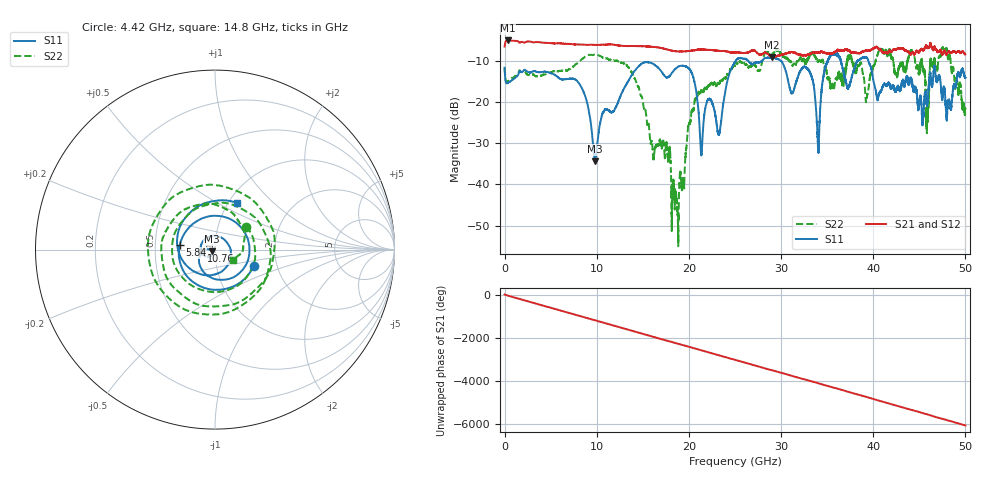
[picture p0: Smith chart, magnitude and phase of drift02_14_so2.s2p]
!Created with skrf (http://scikit-rf.org).
# Hz S RI R 50.0
!freq ReS11 ImS11 ReS21 ImS21 ReS12 ImS12 ReS22 ImS22
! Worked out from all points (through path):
!   10001 points, 300 kHz to 50 GHz, reference 50 ohm
!   highest |S21| = -5.03 dB at 325.3 MHz (marker M1); lowest = -9.0 dB at 29.05 GHz (marker M2)
!   group delay of S21, straight-line fit = 336 ps
!   lowest |S11| = -34.4 dB at 9.815 GHz (marker M3), VSWR 1.04, Z = 48.4 - j0.893 ohm
!   |S11| at or under -10 dB: start of sweep to 25.08 GHz; 29.97 GHz to 35.04 GHz (5.073 GHz wide, 15.6 % of centre); 39.47 GHz to end of sweep (the widest 3 of 11)
!   |S22| runs from -55.0 to -6.6 dB; largest |S21 - S12| = 0.022
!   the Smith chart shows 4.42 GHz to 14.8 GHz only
!   S11 on the Smith chart (normalised r, x): 4.42 GHz: 1.51, -0.30; 5.84 GHz: 0.67, +0.04; 10.76 GHz: 0.86, -0.01; 14.8 GHz: 1.10, +0.62
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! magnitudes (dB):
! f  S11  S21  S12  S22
! 300 kHz  -11.7  -6.5  -6.4  -11.7
! 325.3 MHz  -15.4  -5.0  -5.0  -15.1
! 4.42 GHz  -12.6  -5.6  -5.6  -13.3
! 5.84 GHz  -14.1  -5.7  -5.7  -12.5
! 8.335 GHz  -16.4  -6.1  -6.0  -9.6
! 9.815 GHz  -34.4  -6.1  -6.1  -8.5
! 10.76 GHz  -22.3  -6.0  -6.1  -9.2
! 14.8 GHz  -10.8  -6.4  -6.4  -18.5
! 16.67 GHz  -11.7  -6.7  -6.7  -30.4
! 18.69 GHz  -11.7  -7.7  -7.7  -44.7
! 20.37 GHz  -13.3  -7.5  -7.5  -22.1
! 21.37 GHz  -32.5  -7.2  -7.3  -17.0
! 23.31 GHz  -27.5  -7.6  -7.6  -15.6
! 25 GHz  -10.3  -8.0  -8.0  -11.1
! 29.05 GHz  -9.1  -9.0  -9.0  -8.2
! 33.34 GHz  -14.0  -8.1  -8.2  -8.1
! 34.02 GHz  -31.2  -7.9  -7.9  -10.0
! 35.52 GHz  -8.5  -8.2  -8.1  -15.8
! 41.67 GHz  -15.4  -7.7  -7.8  -7.6
! 45.86 GHz  -20.9  -6.7  -6.8  -22.5
! 47.77 GHz  -17.5  -7.6  -7.6  -7.5
! 50 GHz  -14.0  -8.4  -8.4  -21.7
